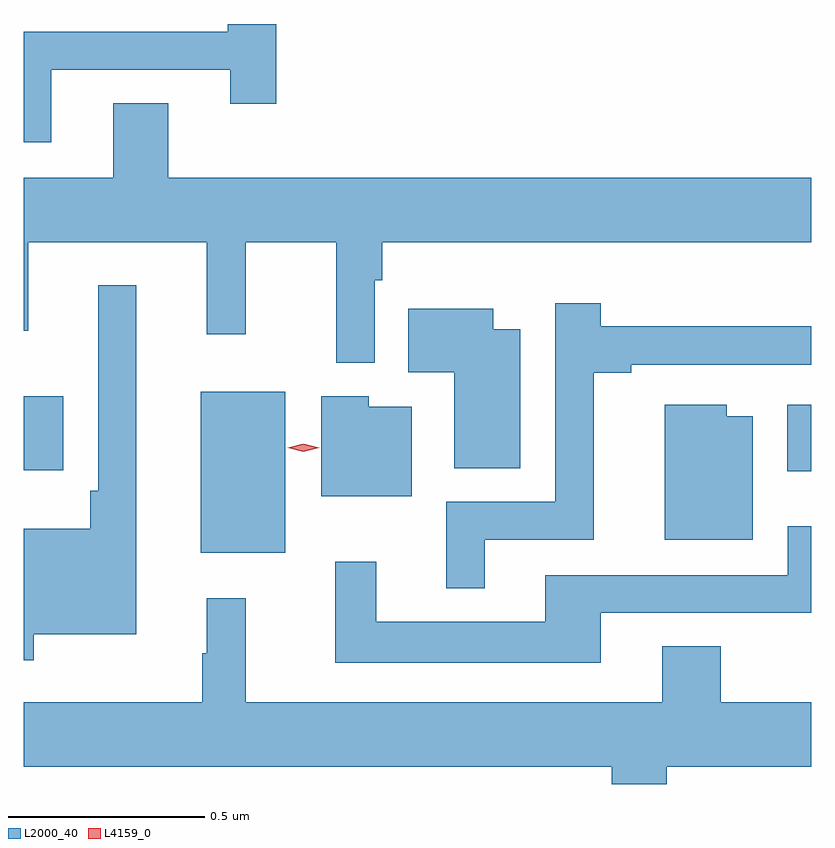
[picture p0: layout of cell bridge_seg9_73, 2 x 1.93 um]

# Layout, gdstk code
import gdstk
lib = gdstk.Library(unit=1e-6, precision=1e-09)
def R(c, l, rs):  # rectangles x0, y0, x1, y1
    for r in rs: c.add(gdstk.rectangle(r[:2], r[2:], *l))
def P(c, l, *ps):  # polygons
    for p in ps: c.add(gdstk.Polygon(p, *l))
L2000_40 = (2000, 40)
L4159_0 = (4159, 0)

bridge_seg9_73 = lib.new_cell('bridge_seg9_73')
R(bridge_seg9_73, L2000_40, [(1025.303,1218.275,1025.518,1218.685), (1026.794,1218.482,1026.854,1218.652), (1024.854,1218.485,1024.954,1218.673)])
P(bridge_seg9_73, L2000_40, [(1024.924,1219.503),(1025.378,1219.503),(1025.378,1219.416),(1025.495,1219.416),(1025.495,1219.619),(1025.372,1219.619),(1025.372,1219.599),(1024.854,1219.599),(1024.854,1219.319),(1024.924,1219.319)],
  [(1025.745,1218.968),(1025.765,1218.968),(1025.765,1219.064),(1026.854,1219.064),(1026.854,1219.228),(1025.221,1219.228),(1025.221,1219.418),(1025.081,1219.418),(1025.081,1219.228),(1024.854,1219.228),(1024.854,1218.839),(1024.865,1218.839),(1024.865,1219.064),(1025.318,1219.064),(1025.318,1218.831),(1025.418,1218.831),(1025.418,1219.064),(1025.647,1219.064),(1025.647,1218.758),(1025.745,1218.758)],
  [(1024.879,1218.068),(1025.14,1218.068),(1025.14,1218.955),(1025.043,1218.955),(1025.043,1218.433),(1025.023,1218.433),(1025.023,1218.337),(1024.854,1218.337),(1024.854,1218.003),(1024.879,1218.003)],
  [(1026.025,1218.309),(1026.302,1218.309),(1026.302,1218.733),(1026.397,1218.733),(1026.397,1218.753),(1026.854,1218.753),(1026.854,1218.851),(1026.32,1218.851),(1026.32,1218.91),(1026.204,1218.91),(1026.204,1218.405),(1025.927,1218.405),(1025.927,1218.185),(1026.025,1218.185)],
  [(1026.115,1218.844),(1026.046,1218.844),(1026.046,1218.895),(1025.83,1218.895),(1025.83,1218.734),(1025.948,1218.734),(1025.948,1218.49),(1026.115,1218.49)],
  [(1025.839,1218.646),(1025.73,1218.646),(1025.73,1218.673),(1025.609,1218.673),(1025.609,1218.419),(1025.839,1218.419)],
  [(1026.706,1218.622),(1026.64,1218.622),(1026.64,1218.652),(1026.482,1218.652),(1026.482,1218.308),(1026.706,1218.308)],
  [(1026.319,1218.123),(1026.854,1218.123),(1026.854,1218.343),(1026.795,1218.343),(1026.795,1218.219),(1026.179,1218.219),(1026.179,1218.1),(1025.749,1218.1),(1025.749,1218.253),(1025.645,1218.253),(1025.645,1217.996),(1026.319,1217.996)],
  [(1026.487,1217.732),(1026.854,1217.732),(1026.854,1217.896),(1026.624,1217.896),(1026.624,1218.038),(1026.476,1218.038),(1026.476,1217.896),(1025.418,1217.896),(1025.418,1218.16),(1025.318,1218.16),(1025.318,1218.02),(1025.307,1218.02),(1025.307,1217.896),(1024.854,1217.896),(1024.854,1217.732),(1026.347,1217.732),(1026.347,1217.688),(1026.487,1217.688)])
P(bridge_seg9_73, L4159_0, [(1025.564,1218.532),(1025.524,1218.542),(1025.523,1218.542),(1025.524,1218.542),(1025.564,1218.552),(1025.604,1218.542),(1025.604,1218.542),(1025.604,1218.542)])

lib.write_gds('bridge_seg9_73.gds')
